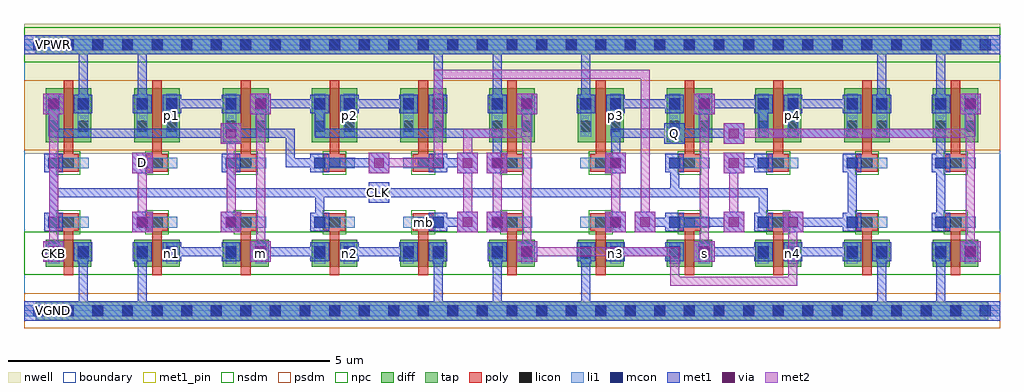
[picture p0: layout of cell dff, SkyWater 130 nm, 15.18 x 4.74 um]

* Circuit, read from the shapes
.subckt dff CKB CLK D Q VGND VPWR m mb n1 n2 n3 n4 p1 p2 p3 p4 s
XM1 VGND CLK CKB VGND sky130_fd_pr__nfet_01v8 w=0.42 l=0.15
XM2 n1 D VGND VGND sky130_fd_pr__nfet_01v8 w=0.42 l=0.15
XM3 m CKB n1 VGND sky130_fd_pr__nfet_01v8 w=0.42 l=0.15
XM4 n2 CLK m VGND sky130_fd_pr__nfet_01v8 w=0.42 l=0.15
XM5 VGND mb n2 VGND sky130_fd_pr__nfet_01v8 w=0.42 l=0.15
XM6 mb m VGND VGND sky130_fd_pr__nfet_01v8 w=0.42 l=0.15
XM7 n3 Q VGND VGND sky130_fd_pr__nfet_01v8 w=0.42 l=0.15
XM8 s CKB n3 VGND sky130_fd_pr__nfet_01v8 w=0.42 l=0.15
XM9 n4 CLK s VGND sky130_fd_pr__nfet_01v8 w=0.42 l=0.15
XM10 VGND mb n4 VGND sky130_fd_pr__nfet_01v8 w=0.42 l=0.15
XM11 Q s VGND VGND sky130_fd_pr__nfet_01v8 w=0.42 l=0.15
XM12 VPWR CLK CKB VPWR sky130_fd_pr__pfet_01v8 w=0.84 l=0.15
XM13 p1 D VPWR VPWR sky130_fd_pr__pfet_01v8 w=0.84 l=0.15
XM14 m CLK p1 VPWR sky130_fd_pr__pfet_01v8 w=0.84 l=0.15
XM15 p2 CKB m VPWR sky130_fd_pr__pfet_01v8 w=0.84 l=0.15
XM16 VPWR mb p2 VPWR sky130_fd_pr__pfet_01v8 w=0.84 l=0.15
XM17 mb m VPWR VPWR sky130_fd_pr__pfet_01v8 w=0.84 l=0.15
XM18 p3 Q VPWR VPWR sky130_fd_pr__pfet_01v8 w=0.84 l=0.15
XM19 s CLK p3 VPWR sky130_fd_pr__pfet_01v8 w=0.84 l=0.15
XM20 p4 CKB s VPWR sky130_fd_pr__pfet_01v8 w=0.84 l=0.15
XM21 VPWR mb p4 VPWR sky130_fd_pr__pfet_01v8 w=0.84 l=0.15
XM22 Q s VPWR VPWR sky130_fd_pr__pfet_01v8 w=0.84 l=0.15
.ends

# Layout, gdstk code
import gdstk
lib = gdstk.Library(unit=1e-6, precision=1e-09)
def R(c, l, rs):  # rectangles x0, y0, x1, y1
    for r in rs: c.add(gdstk.rectangle(r[:2], r[2:], *l))
def A(c, l, x, y, w, h, nx, ny, dx, dy):  # array of equal rectangles
    R(c, l, [(x+i*dx, y+j*dy, x+i*dx+w, y+j*dy+h) for i in range(nx) for j in range(ny)])
nwell = (64, 20)
diff = (65, 20)
tap = (65, 44)
poly = (66, 20)
licon = (66, 44)
li1 = (67, 20)
mcon = (67, 44)
met1_pin = (68, 16)
met1 = (68, 20)
via = (68, 44)
met2 = (69, 20)
nsdm = (93, 44)
psdm = (94, 20)
npc = (95, 20)
boundary = (235, 4)

dff = lib.new_cell('dff')
R(dff, nwell, [(0,2.44,15.18,4.465)])
A(dff, diff, 0.335, 0.685, 0.71, 0.42, 11, 1, 1.38, 0)
A(dff, diff, 0.335, 2.62, 0.71, 0.84, 11, 1, 1.38, 0)
R(dff, tap, [(0.18,-0.145,15,0.145), (0.18,3.995,15,4.285)])
A(dff, poly, 0.615, 0.555, 0.15, 0.825, 11, 1, 1.38, 0)
A(dff, poly, 0.525, 1.245, 0.33, 0.27, 11, 2, 1.38, 0.92)
A(dff, poly, 0.615, 2.3, 0.15, 1.29, 11, 1, 1.38, 0)
A(dff, licon, 0.605, -0.085, 0.17, 0.17, 31, 2, 0.46, 4.14)
A(dff, licon, 0.605, 1.295, 0.17, 0.17, 11, 2, 1.38, 0.92)
R(dff, licon, [(0.375,0.81,0.545,0.98), (0.835,0.81,1.005,0.98), (1.755,0.81,1.925,0.98), (2.215,0.81,2.385,0.98), (3.135,0.81,3.305,0.98), (3.595,0.81,3.765,0.98), (4.515,0.81,4.685,0.98), (4.975,0.81,5.145,0.98), (5.895,0.81,6.065,0.98), (6.355,0.81,6.525,0.98), (7.275,0.81,7.445,0.98), (7.735,0.81,7.905,0.98), (8.655,0.81,8.825,0.98), (9.115,0.81,9.285,0.98), (10.035,0.81,10.205,0.98), (10.495,0.81,10.665,0.98), (11.415,0.81,11.585,0.98), (11.875,0.81,12.045,0.98), (12.795,0.81,12.965,0.98), (13.255,0.81,13.425,0.98), (14.175,0.81,14.345,0.98), (14.635,0.81,14.805,0.98), (0.375,2.785,0.545,2.955), (0.835,2.785,1.005,2.955), (1.755,2.785,1.925,2.955), (2.215,2.785,2.385,2.955), (3.135,2.785,3.305,2.955), (3.595,2.785,3.765,2.955), (4.515,2.785,4.685,2.955), (4.975,2.785,5.145,2.955), (5.895,2.785,6.065,2.955), (6.355,2.785,6.525,2.955), (7.275,2.785,7.445,2.955), (7.735,2.785,7.905,2.955), (8.655,2.785,8.825,2.955), (9.115,2.785,9.285,2.955), (10.035,2.785,10.205,2.955), (10.495,2.785,10.665,2.955), (11.415,2.785,11.585,2.955), (11.875,2.785,12.045,2.955), (12.795,2.785,12.965,2.955), (13.255,2.785,13.425,2.955), (14.175,2.785,14.345,2.955), (14.635,2.785,14.805,2.955), (0.375,3.125,0.545,3.295), (0.835,3.125,1.005,3.295), (1.755,3.125,1.925,3.295), (2.215,3.125,2.385,3.295), (3.135,3.125,3.305,3.295), (3.595,3.125,3.765,3.295), (4.515,3.125,4.685,3.295), (4.975,3.125,5.145,3.295), (5.895,3.125,6.065,3.295), (6.355,3.125,6.525,3.295), (7.275,3.125,7.445,3.295), (7.735,3.125,7.905,3.295), (8.655,3.125,8.825,3.295), (9.115,3.125,9.285,3.295), (10.035,3.125,10.205,3.295), (10.495,3.125,10.665,3.295), (11.415,3.125,11.585,3.295), (11.875,3.125,12.045,3.295), (12.795,3.125,12.965,3.295), (13.255,3.125,13.425,3.295), (14.175,3.125,14.345,3.295), (14.635,3.125,14.805,3.295)])
A(dff, li1, 0.375, 1.295, 0.63, 0.17, 11, 2, 1.38, 0.92)
R(dff, li1, [(0,-0.085,15.18,0.085), (0.375,0.73,0.545,1.06), (0.835,0.73,1.005,1.06), (1.755,0.73,1.925,1.06), (2.215,0.73,2.385,1.06), (3.135,0.73,3.305,1.06), (3.595,0.73,3.765,1.06), (4.515,0.73,4.685,1.06), (4.975,0.73,5.145,1.06), (5.895,0.73,6.065,1.06), (6.355,0.73,6.525,1.06), (7.275,0.73,7.445,1.06), (7.735,0.73,7.905,1.06), (8.655,0.73,8.825,1.06), (9.115,0.73,9.285,1.06), (10.035,0.73,10.205,1.06), (10.495,0.73,10.665,1.06), (11.415,0.73,11.585,1.06), (11.875,0.73,12.045,1.06), (12.795,0.73,12.965,1.06), (13.255,0.73,13.425,1.06), (14.175,0.73,14.345,1.06), (14.635,0.73,14.805,1.06), (0.375,2.705,0.545,3.375), (0.835,2.705,1.005,3.375), (1.755,2.705,1.925,3.375), (2.215,2.705,2.385,3.375), (3.135,2.705,3.305,3.375), (3.595,2.705,3.765,3.375), (4.515,2.705,4.685,3.375), (4.975,2.705,5.145,3.375), (5.895,2.705,6.065,3.375), (6.355,2.705,6.525,3.375), (7.275,2.705,7.445,3.375), (7.735,2.705,7.905,3.375), (8.655,2.705,8.825,3.375), (9.115,2.705,9.285,3.375), (10.035,2.705,10.205,3.375), (10.495,2.705,10.665,3.375), (11.415,2.705,11.585,3.375), (11.875,2.705,12.045,3.375), (12.795,2.705,12.965,3.375), (13.255,2.705,13.425,3.375), (14.175,2.705,14.345,3.375), (14.635,2.705,14.805,3.375), (0,4.055,15.18,4.225)])
A(dff, mcon, 0.145, -0.085, 0.17, 0.17, 33, 2, 0.46, 4.14)
A(dff, mcon, 0.375, 1.295, 0.17, 0.17, 4, 2, 1.38, 0.92)
A(dff, mcon, 6.355, 1.295, 0.17, 0.17, 1, 3, 0, 0.92)
A(dff, mcon, 7.275, 1.295, 0.17, 0.17, 1, 3, 0, 0.92)
A(dff, mcon, 9.115, 1.295, 0.17, 0.17, 1, 3, 0, 0.92)
A(dff, mcon, 10.035, 1.295, 0.17, 0.17, 4, 2, 1.38, 0.92)
R(dff, mcon, [(0.375,0.835,0.545,1.005), (0.835,0.835,1.005,1.005), (1.755,0.835,1.925,1.005), (2.215,0.835,2.385,1.005), (3.135,0.835,3.305,1.005), (3.595,0.835,3.765,1.005), (4.515,0.835,4.685,1.005), (4.975,0.835,5.145,1.005), (5.895,0.835,6.065,1.005), (6.355,0.835,6.525,1.005), (7.275,0.835,7.445,1.005), (7.735,0.835,7.905,1.005), (8.655,0.835,8.825,1.005), (9.115,0.835,9.285,1.005), (10.035,0.835,10.205,1.005), (10.495,0.835,10.665,1.005), (11.415,0.835,11.585,1.005), (11.875,0.835,12.045,1.005), (12.795,0.835,12.965,1.005), (13.255,0.835,13.425,1.005), (14.175,0.835,14.345,1.005), (14.635,0.835,14.805,1.005), (0.375,3.135,0.545,3.305), (0.835,3.135,1.005,3.305), (1.755,3.135,1.925,3.305), (2.215,3.135,2.385,3.305), (3.135,3.135,3.305,3.305), (3.595,3.135,3.765,3.305), (4.515,3.135,4.685,3.305), (4.975,3.135,5.145,3.305), (5.895,3.135,6.065,3.305), (7.735,3.135,7.905,3.305), (8.655,3.135,8.825,3.305), (10.035,3.135,10.205,3.305), (10.495,3.135,10.665,3.305), (11.415,3.135,11.585,3.305), (11.875,3.135,12.045,3.305), (12.795,3.135,12.965,3.305), (13.255,3.135,13.425,3.305), (14.175,3.135,14.345,3.305), (14.635,3.135,14.805,3.305)])
R(dff, met1_pin, [(0.315,-0.15,0.605,0.15), (5.36,1.68,5.68,2), (1.68,2.14,2,2.46), (9.96,2.6,10.28,2.92), (0.315,3.99,0.605,4.29)])
A(dff, met1, 2.23, 0.85, 1.06, 0.14, 3, 2, 1.38, 2.3)
A(dff, met1, 9.13, 0.85, 1.06, 0.14, 3, 2, 1.38, 2.3)
A(dff, met1, 0.315, 1.235, 0.29, 0.29, 4, 2, 1.38, 0.92)
A(dff, met1, 6.295, 1.235, 0.29, 0.29, 1, 3, 0, 0.92)
A(dff, met1, 7.215, 1.235, 0.29, 0.29, 1, 3, 0, 0.92)
A(dff, met1, 9.055, 1.235, 0.29, 0.29, 1, 3, 0, 0.92)
A(dff, met1, 9.975, 1.235, 0.29, 0.29, 4, 2, 1.38, 0.92)
A(dff, met1, 7.2, 2.14, 0.32, 0.32, 3, 1, 1.84, 0)
R(dff, met1, [(0,-0.15,15.18,0.15), (0.85,-0.07,0.99,0.99), (0.85,-0.07,0.99,0.07), (1.77,-0.07,1.91,0.99), (1.77,-0.07,1.91,0.07), (6.37,-0.07,6.51,0.99), (6.37,-0.07,6.51,0.07), (7.29,-0.07,7.43,0.99), (7.29,-0.07,7.43,0.07), (8.67,-0.07,8.81,0.99), (8.67,-0.07,8.81,0.07), (13.27,-0.07,13.41,0.99), (13.27,-0.07,13.41,0.07), (14.19,-0.07,14.33,0.99), (14.19,-0.07,14.33,0.07), (0.3,0.76,0.62,1.08), (3.52,0.76,3.84,1.08), (7.66,0.76,7.98,1.08), (10.42,0.76,10.74,1.08), (14.56,0.76,14.88,1.08), (0.315,0.775,0.605,1.065), (0.775,0.775,1.065,1.065), (1.695,0.775,1.985,1.065), (2.155,0.775,2.445,1.065), (3.075,0.775,3.365,1.065), (3.535,0.775,3.825,1.065), (4.455,0.775,4.745,1.065), (4.915,0.775,5.205,1.065), (5.835,0.775,6.125,1.065), (6.295,0.775,6.585,1.065), (7.215,0.775,7.505,1.065), (7.675,0.775,7.965,1.065), (8.595,0.775,8.885,1.065), (9.055,0.775,9.345,1.065), (9.975,0.775,10.265,1.065), (10.435,0.775,10.725,1.065), (11.355,0.775,11.645,1.065), (11.815,0.775,12.105,1.065), (12.735,0.775,13.025,1.065), (13.195,0.775,13.485,1.065), (14.115,0.775,14.405,1.065), (14.575,0.775,14.865,1.065), (1.68,1.22,2,1.54), (3.06,1.22,3.38,1.54), (6.74,1.22,7.06,1.54), (7.2,1.22,7.52,1.54), (9.04,1.22,9.36,1.54), (9.5,1.22,9.82,1.54), (10.88,1.22,11.2,1.54), (11.8,1.22,12.12,1.54), (0.39,1.31,0.53,2.37), (4.53,1.31,4.67,1.91), (6.37,1.31,6.97,1.45), (9.59,1.31,10.19,1.45), (10.05,1.31,11.11,1.45), (11.43,1.31,11.57,1.91), (11.89,1.31,12.95,1.45), (12.81,1.31,12.95,2.37), (14.19,1.31,14.33,2.37), (5.36,1.68,5.68,2), (0.39,1.77,3.29,1.91), (3.15,1.77,3.29,2.37), (3.15,1.77,4.67,1.91), (4.53,1.77,10.19,1.91), (10.05,1.77,10.19,2.37), (10.05,1.77,11.57,1.91), (1.68,2.14,2,2.46), (1.68,2.14,2,2.46), (5.36,2.14,5.68,2.46), (6.74,2.14,7.06,2.46), (4.07,2.23,4.21,2.83), (4.07,2.23,4.67,2.37), (4.53,2.23,5.59,2.37), (6.37,2.23,6.97,2.37), (7.29,2.23,7.43,2.83), (9.13,2.23,9.27,2.83), (10.97,2.23,11.57,2.37), (14.19,2.23,14.33,2.83), (3.06,2.6,3.38,2.92), (9.96,2.6,10.28,2.92), (10.88,2.6,11.2,2.92), (0.39,2.69,0.53,3.29), (0.39,2.69,4.21,2.83), (4.53,2.69,4.67,3.29), (4.53,2.69,7.43,2.83), (9.13,2.69,11.11,2.83), (11.43,2.69,11.57,3.29), (11.43,2.69,14.33,2.83), (0.3,3.06,0.62,3.38), (3.52,3.06,3.84,3.38), (7.66,3.06,7.98,3.38), (10.42,3.06,10.74,3.38), (14.56,3.06,14.88,3.38), (0.315,3.075,0.605,3.365), (0.775,3.075,1.065,3.365), (1.695,3.075,1.985,3.365), (2.155,3.075,2.445,3.365), (3.075,3.075,3.365,3.365), (3.535,3.075,3.825,3.365), (4.455,3.075,4.745,3.365), (4.915,3.075,5.205,3.365), (5.835,3.075,6.125,3.365), (7.675,3.075,7.965,3.365), (8.595,3.075,8.885,3.365), (9.975,3.075,10.265,3.365), (10.435,3.075,10.725,3.365), (11.355,3.075,11.645,3.365), (11.815,3.075,12.105,3.365), (12.735,3.075,13.025,3.365), (13.195,3.075,13.485,3.365), (14.115,3.075,14.405,3.365), (14.575,3.075,14.865,3.365), (0.85,3.15,0.99,4.21), (1.77,3.15,1.91,4.21), (6.37,3.15,6.51,4.21), (7.29,3.15,7.43,4.21), (8.67,3.15,8.81,4.21), (13.27,3.15,13.41,4.21), (14.19,3.15,14.33,4.21), (0,3.99,15.18,4.29), (0.85,4.07,0.99,4.21), (1.77,4.07,1.91,4.21), (6.37,4.07,6.51,4.21), (7.29,4.07,7.43,4.21), (8.67,4.07,8.81,4.21), (13.27,4.07,13.41,4.21), (14.19,4.07,14.33,4.21)])
A(dff, via, 7.285, 2.225, 0.15, 0.15, 3, 1, 1.84, 0)
R(dff, via, [(0.385,0.845,0.535,0.995), (3.605,0.845,3.755,0.995), (7.745,0.845,7.895,0.995), (10.505,0.845,10.655,0.995), (14.645,0.845,14.795,0.995), (1.765,1.305,1.915,1.455), (3.145,1.305,3.295,1.455), (6.825,1.305,6.975,1.455), (7.285,1.305,7.435,1.455), (9.125,1.305,9.275,1.455), (9.585,1.305,9.735,1.455), (10.965,1.305,11.115,1.455), (11.885,1.305,12.035,1.455), (1.765,2.225,1.915,2.375), (5.445,2.225,5.595,2.375), (6.825,2.225,6.975,2.375), (3.145,2.685,3.295,2.835), (10.965,2.685,11.115,2.835), (0.385,3.145,0.535,3.295), (3.605,3.145,3.755,3.295), (7.745,3.145,7.895,3.295), (10.505,3.145,10.655,3.295), (14.645,3.145,14.795,3.295)])
A(dff, met2, 7.29, 1.31, 0.14, 1.06, 3, 1, 1.84, 0)
A(dff, met2, 7.2, 2.14, 0.32, 0.32, 3, 1, 1.84, 0)
R(dff, met2, [(10.05,0.39,10.19,0.99), (10.05,0.39,12.03,0.53), (11.89,0.39,12.03,1.45), (0.3,0.76,0.62,1.08), (3.52,0.76,3.84,1.08), (7.66,0.76,7.98,1.08), (10.42,0.76,10.74,1.08), (14.56,0.76,14.88,1.08), (0.39,0.85,0.53,3.29), (3.61,0.85,3.75,3.29), (7.75,0.85,7.89,3.29), (7.75,0.85,10.19,0.99), (10.51,0.85,10.65,3.29), (14.65,0.85,14.79,3.29), (1.68,1.22,2,1.54), (3.06,1.22,3.38,1.54), (6.74,1.22,7.06,1.54), (7.2,1.22,7.52,1.54), (9.04,1.22,9.36,1.54), (9.5,1.22,9.82,1.54), (10.88,1.22,11.2,1.54), (11.8,1.22,12.12,1.54), (1.77,1.31,1.91,2.37), (3.15,1.31,3.29,2.83), (6.83,1.31,6.97,2.37), (9.59,1.31,9.73,3.75), (1.68,2.14,2,2.46), (5.36,2.14,5.68,2.46), (6.74,2.14,7.06,2.46), (5.45,2.23,6.51,2.37), (6.37,2.23,6.51,3.75), (6.83,2.23,6.97,2.83), (3.06,2.6,3.38,2.92), (10.88,2.6,11.2,2.92), (6.83,2.69,7.89,2.83), (10.97,2.69,14.79,2.83), (0.3,3.06,0.62,3.38), (3.52,3.06,3.84,3.38), (7.66,3.06,7.98,3.38), (10.42,3.06,10.74,3.38), (14.56,3.06,14.88,3.38), (6.37,3.61,9.73,3.75)])
R(dff, nsdm, [(0,0.56,15.18,1.23), (0,3.87,15.18,4.41)])
R(dff, psdm, [(0,-0.27,15.18,0.27), (0,2.495,15.18,3.585)])
A(dff, npc, 0.505, 1.195, 0.37, 0.37, 11, 2, 1.38, 0.92)
R(dff, boundary, [(0,0,15.18,4.14)])
dff.add(gdstk.Label('CKB', (0.46,0.895), layer=67, texttype=5))
dff.add(gdstk.Label('n1', (2.3,0.895), layer=67, texttype=5))
dff.add(gdstk.Label('m', (3.68,0.895), layer=67, texttype=5))
dff.add(gdstk.Label('n2', (5.06,0.895), layer=67, texttype=5))
dff.add(gdstk.Label('mb', (6.21,1.38), layer=67, texttype=5))
dff.add(gdstk.Label('n3', (9.2,0.895), layer=67, texttype=5))
dff.add(gdstk.Label('s', (10.58,0.895), layer=67, texttype=5))
dff.add(gdstk.Label('n4', (11.96,0.895), layer=67, texttype=5))
dff.add(gdstk.Label('p1', (2.3,3.04), layer=67, texttype=5))
dff.add(gdstk.Label('p2', (5.06,3.04), layer=67, texttype=5))
dff.add(gdstk.Label('p3', (9.2,3.04), layer=67, texttype=5))
dff.add(gdstk.Label('p4', (11.96,3.04), layer=67, texttype=5))
dff.add(gdstk.Label('D', (1.84,2.3), layer=68, texttype=5))
dff.add(gdstk.Label('CLK', (5.52,1.84), layer=68, texttype=5))
dff.add(gdstk.Label('Q', (10.12,2.76), layer=68, texttype=5))
dff.add(gdstk.Label('VPWR', (0.46,4.14), layer=68, texttype=5))
dff.add(gdstk.Label('VGND', (0.46,0), layer=68, texttype=5))
dff.add(gdstk.Label('D', (1.84,2.3), layer=68, texttype=16))
dff.add(gdstk.Label('CLK', (5.52,1.84), layer=68, texttype=16))
dff.add(gdstk.Label('Q', (10.12,2.76), layer=68, texttype=16))
dff.add(gdstk.Label('VPWR', (0.46,4.14), layer=68, texttype=16))
dff.add(gdstk.Label('VGND', (0.46,0), layer=68, texttype=16))

lib.write_gds('dff.gds')
